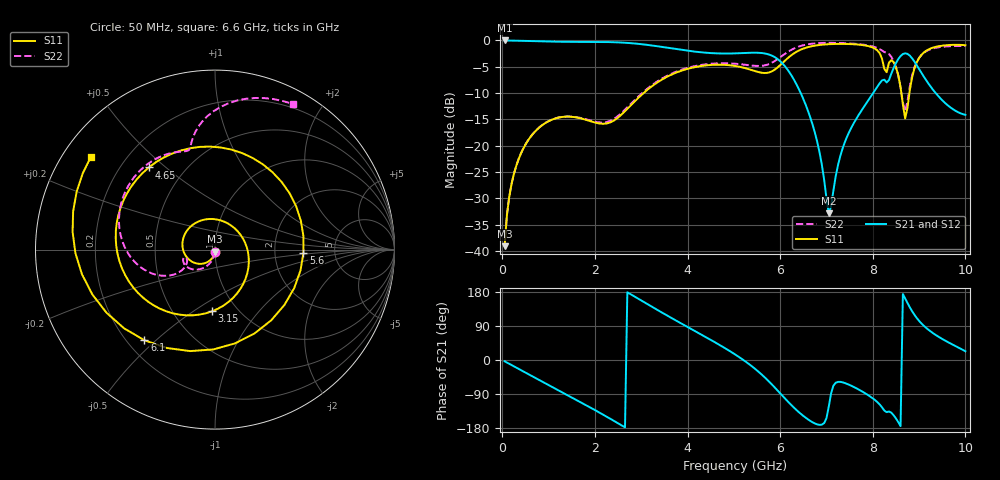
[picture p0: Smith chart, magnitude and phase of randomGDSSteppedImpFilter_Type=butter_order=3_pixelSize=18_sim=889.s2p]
! freq	dB(S11)	phase(S11)	dB(S12)	phase(S12)
!  dB(S21)	phase(S21)	dB(S22)	phase(S22)
!S-par simulation data
#  GHz  S  DB  R 50
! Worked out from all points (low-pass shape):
!   200 points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, 50 MHz to 10 GHz, reference 50 ohm
!   highest |S21| = -0.01 dB at 50 MHz (marker M1); lowest = -32.9 dB at 7.05 GHz (marker M2)
!   |S21| within 3 dB of the highest: start of sweep to 5.848 GHz; 8.596 GHz to 8.811 GHz (214.7 MHz wide, 2.47 % of centre)
!   lowest |S11| = -39.1 dB at 50 MHz (marker M3), VSWR 1.02, Z = 49.9 - j1.11 ohm
!   |S11| at or under -10 dB: start of sweep to 3.051 GHz; 8.617 GHz to 8.791 GHz (174.6 MHz wide, 2.01 % of centre)
!   |S22| runs from -39.1 to -0.5 dB; largest |S21 - S12| = 0
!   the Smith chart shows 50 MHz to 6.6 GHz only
!   S11 on the Smith chart (normalised r, x): 50 MHz: 1.00, -0.02; 3.15 GHz: 0.77, -0.60; 4.65 GHz: 0.31, +0.44; 5.6 GHz: 2.94, -0.15; 6.1 GHz: 0.27, -0.46; 6.6 GHz: 0.08, +0.33
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0.05  -39.10 -93.2  -0.01 -3.4  -0.01 -3.4  -39.06 -91.7
0.2  -27.27 -105.9  -0.03 -13.4  -0.03 -13.4  -27.25 -100.6
0.55  -19.09 -134.4  -0.10 -36.5  -0.10 -36.5  -19.06 -119.4
1.75  -14.94 114.0  -0.28 -115.1  -0.28 -115.1  -14.85 -164.9
2.5  -14.66 -5.0  -0.37 -167.0  -0.37 -167.0  -14.34 -150.3
3.15  -9.26 -92.7  -0.87 146.3  -0.87 146.3  -9.04 -156.5
3.4  -7.69 -118.4  -1.17 128.5  -1.17 128.5  -7.50 -166.1
4.05  -5.29 -177.6  -2.02 83.7  -2.02 83.7  -5.10 164.3
4.65  -4.62 128.8  -2.47 42.7  -2.47 42.7  -4.35 136.5
5.05  -4.88 86.8  -2.46 12.9  -2.46 12.9  -4.44 119.7
5.6  -6.14 -2.3  -2.39 -38.2  -2.39 -38.2  -4.83 104.9
6.1  -3.88 -127.9  -4.87 -101.0  -4.87 -101.0  -2.57 93.4
6.6  -1.27 143.1  -13.37 -156.7  -13.37 -156.7  -0.73 62.0
6.7  -1.07 130.3  -16.00 -164.3  -16.00 -164.3  -0.61 55.4
7.05  -0.72 93.0  -32.86 -122.9  -32.86 -122.9  -0.46 33.5
7.8  -0.91 30.5  -12.74 -85.2  -12.74 -85.2  -0.81 -12.2
8.2  -3.49 -9.7  -7.59 -124.9  -7.59 -124.9  -1.93 -40.4
8.35  -4.24 4.3  -7.52 -135.8  -7.52 -135.8  -2.59 -52.3
8.7  -14.84 2.4  -2.45 162.2  -2.45 162.2  -13.47 -39.2
8.9  -5.33 36.6  -4.03 119.2  -4.03 119.2  -5.12 -12.2
9.35  -1.24 -4.1  -9.92 66.8  -9.92 66.8  -1.41 -51.5
10  -0.92 -43.8  -14.14 23.1  -14.14 23.1  -1.06 -90.3
